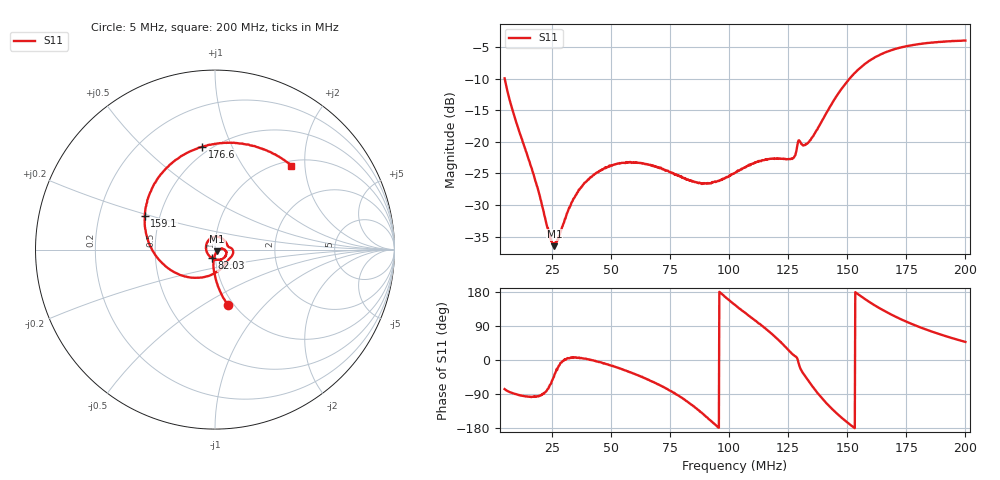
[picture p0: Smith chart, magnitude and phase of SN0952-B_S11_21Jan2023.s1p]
# Hz S DB R 50
! CMT, M5045, 22160017, 22.4.3/2
! Date: 1/21/2023 20:01:46
! Data: Format (Calibration Info)
! Freq	S11:dB/Ang(F1)
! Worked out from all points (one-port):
!   1001 points, 5 MHz to 200 MHz, reference 50 ohm
!   lowest |S11| = -36.5 dB at 26.06 MHz (marker M1), VSWR 1.03, Z = 51.2 - j0.977 ohm
!   |S11| at or under -10 dB: 5.029 MHz to 151 MHz (146 MHz wide, 187 % of centre)
!   S11 on the Smith chart (normalised r, x): 5 MHz: 0.94, -0.65; 82.03 MHz: 0.96, -0.09; 159.1 MHz: 0.41, +0.19; 176.6 MHz: 0.45, +0.78; 200 MHz: 1.09, +1.70
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5000000  -9.95 -76.8
1.2215e7  -19.49 -93.9
1.904e7  -27.38 -95.2
2.411e7  -34.98 -66.5
2.606e7  -36.51 -39.7
2.9375e7  -33.41 -3.5
3.3665e7  -29.45 6.4
3.854e7  -26.66 3.8
4.478e7  -24.75 -5.3
5.375e7  -23.35 -22.5
6.4475e7  -23.53 -48.0
7.8125e7  -25.23 -92.3
8.2025e7  -26.01 -108.4
9.158e7  -26.60 -156.9
1.025e8  -24.90 145.5
1.1615e8  -22.73 79.3
1.26875e8  -22.64 15.1
1.3019e8  -20.05 -22.9
1.33895e8  -19.97 -57.7
1.415e8  -15.22 -116.3
1.4618e8  -12.34 -144.3
1.5125e8  -9.88 -170.8
1.5905e8  -7.24 154.4
1.6763e8  -5.63 123.0
1.75625e8  -4.83 99.5
1.766e8  -4.76 96.9
1.8635e8  -4.29 73.7
2e8  -3.98 47.8
